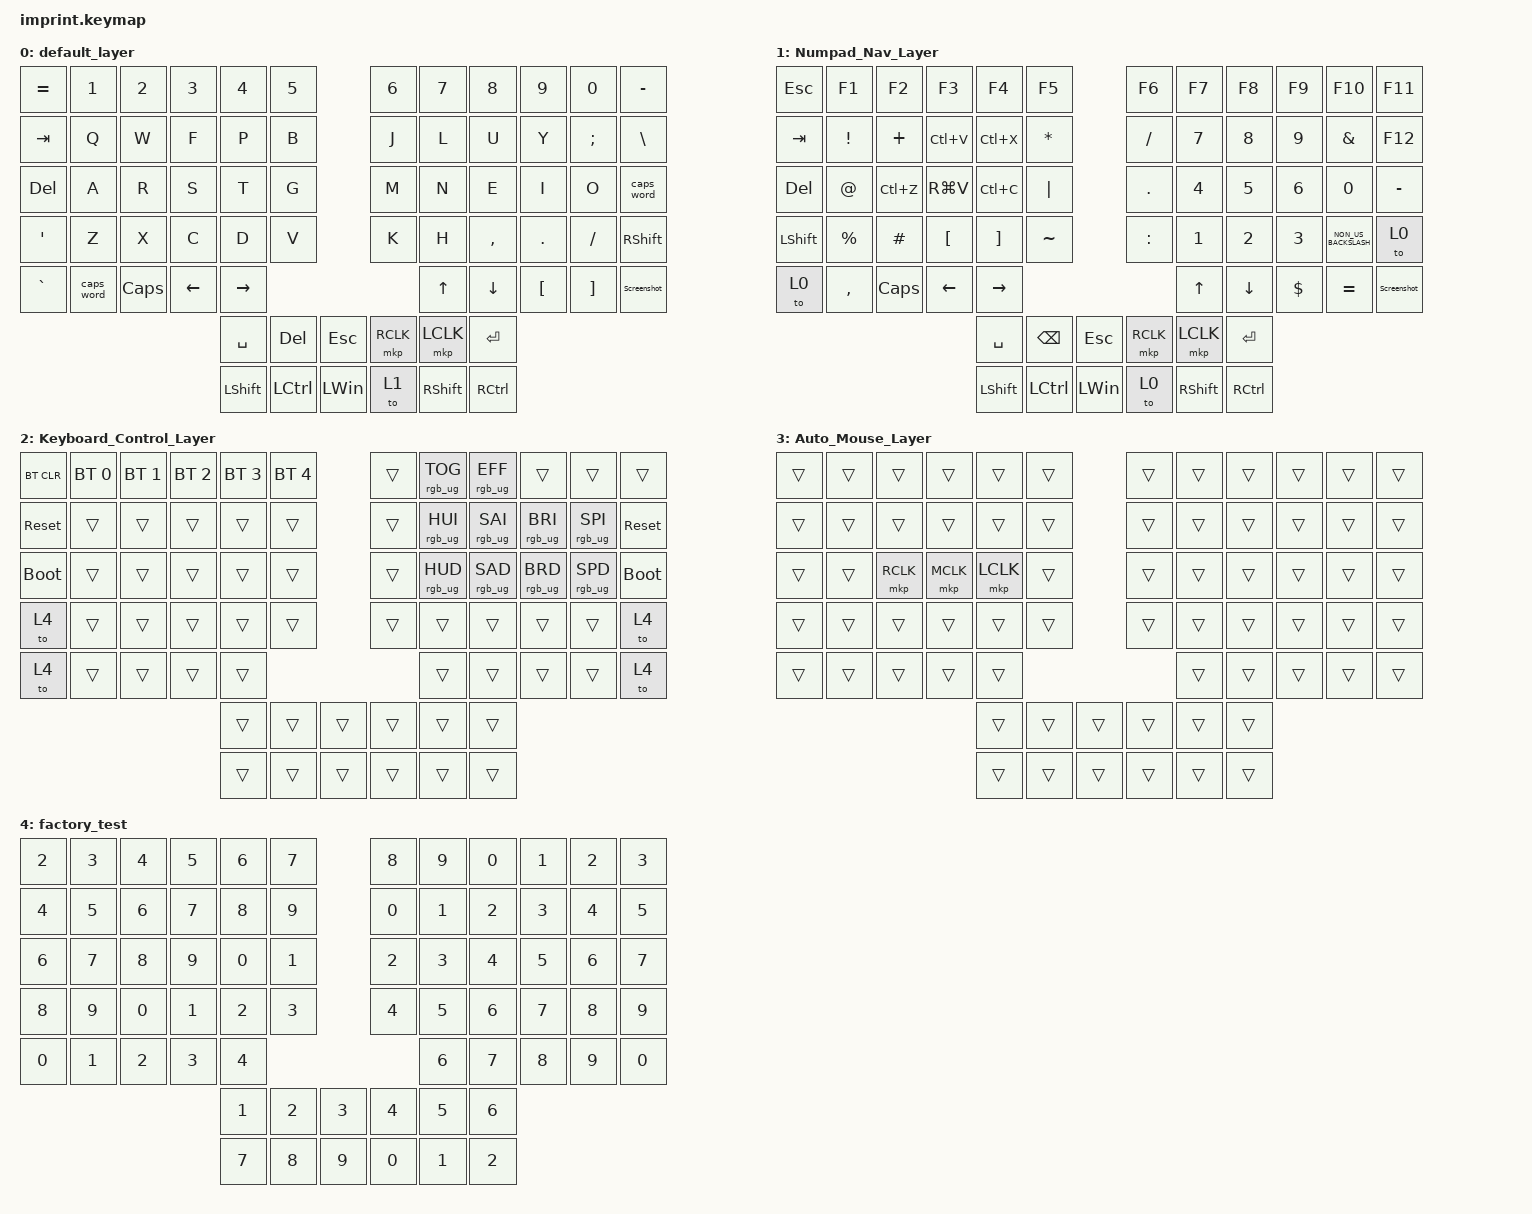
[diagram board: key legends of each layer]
#include <input/processors.dtsi>
#include <dt-bindings/zmk/input_transform.h>
#include <behaviors.dtsi>
#include <dt-bindings/zmk/bt.h>
#include <dt-bindings/zmk/keys.h>
#include <dt-bindings/zmk/pointing.h>
#include <dt-bindings/zmk/rgb.h>

/ {
    chosen { zmk,matrix-transform = &imprint_function_row_full_bottom_row; };

    macros {
        Screenshot: Screenshot {
            compatible = "zmk,behavior-macro";
            #binding-cells = <0>;
            bindings = <&kp RIGHT_WIN &kp RIGHT_SHIFT &kp S>;
            label = "SCREENSHOT";
        };
    };

    keymap {
        compatible = "zmk,keymap";

        default_layer {
            bindings = <
&kp EQUAL  &kp N1      &kp N2        &kp N3    &kp N4          &kp N5                            &kp N6     &kp N7           &kp N8             &kp N9            &kp N0             &kp MINUS
&kp TAB    &kp Q       &kp W         &kp F     &kp P           &kp B                             &kp J      &kp L            &kp U              &kp Y             &kp SEMICOLON      &kp BSLH
&kp DEL    &kp A       &kp R         &kp S     &kp T           &kp G                             &kp M      &kp N            &kp E              &kp I             &kp O              &caps_word
&kp SQT    &kp Z       &kp X         &kp C     &kp D           &kp V                             &kp K      &kp H            &kp COMMA          &kp DOT           &kp FSLH           &kp RSHFT
&kp GRAVE  &caps_word  &kp CAPSLOCK  &kp LEFT  &kp RIGHT                                                    &kp UP_ARROW     &kp DOWN           &kp LEFT_BRACKET  &kp RIGHT_BRACKET  &Screenshot
                                               &kp SPACE       &kp DEL           &kp ESC         &mkp RCLK  &mkp LCLK        &kp ENTER
                                               &kp LEFT_SHIFT  &kp LEFT_CONTROL  &kp LEFT_WIN    &to 1      &kp RIGHT_SHIFT  &kp RIGHT_CONTROL
            >;
        };

        Numpad_Nav_Layer {
            bindings = <
&kp ESCAPE      &kp F1           &kp F2     &kp F3            &kp F4             &kp F5                            &kp F6      &kp F7           &kp F8             &kp F9        &kp F10               &kp F11
&kp TAB         &kp EXCLAMATION  &kp PLUS   &kp LC(V)         &kp LC(X)          &kp ASTERISK                      &kp SLASH   &kp N7           &kp N8             &kp N9        &kp AMPERSAND         &kp F12
&kp DELETE      &kp AT_SIGN      &kp LC(Z)  &kp RG(V)         &kp LC(C)          &kp PIPE                          &kp PERIOD  &kp NUMBER_4     &kp N5             &kp NUMBER_6  &kp N0                &kp MINUS
&kp LEFT_SHIFT  &kp PERCENT      &kp HASH   &kp LEFT_BRACKET  &kp RIGHT_BRACKET  &kp TILDE                         &kp COLON   &kp NUMBER_1     &kp NUMBER_2       &kp NUMBER_3  &kp NON_US_BACKSLASH  &to 0
&to 0           &kp COMMA        &kp CLCK   &kp LEFT          &kp RIGHT                                                        &kp UP_ARROW     &kp DOWN_ARROW     &kp DOLLAR    &kp EQUAL             &Screenshot
                                                              &kp SPACE          &kp BACKSPACE     &kp ESCAPE      &mkp RCLK   &mkp LCLK        &kp ENTER
                                                              &kp LEFT_SHIFT     &kp LEFT_CONTROL  &kp LEFT_WIN    &to 0       &kp RIGHT_SHIFT  &kp RIGHT_CONTROL
            >;
        };

        Keyboard_Control_Layer {
            bindings = <
&bt BT_CLR   &bt BT_SEL 0  &bt BT_SEL 1  &bt BT_SEL 2  &bt BT_SEL 3  &bt BT_SEL 4            &trans  &rgb_ug RGB_TOG  &rgb_ug RGB_EFF  &trans           &trans           &trans
&sys_reset   &trans        &trans        &trans        &trans        &trans                  &trans  &rgb_ug RGB_HUI  &rgb_ug RGB_SAI  &rgb_ug RGB_BRI  &rgb_ug RGB_SPI  &sys_reset
&bootloader  &trans        &trans        &trans        &trans        &trans                  &trans  &rgb_ug RGB_HUD  &rgb_ug RGB_SAD  &rgb_ug RGB_BRD  &rgb_ug RGB_SPD  &bootloader
&to 4        &trans        &trans        &trans        &trans        &trans                  &trans  &trans           &trans           &trans           &trans           &to 4
&to 4        &trans        &trans        &trans        &trans                                        &trans           &trans           &trans           &trans           &to 4
                                                       &trans        &trans        &trans    &trans  &trans           &trans
                                                       &trans        &trans        &trans    &trans  &trans           &trans
            >;
        };

        Auto_Mouse_Layer {
            bindings = <
&trans  &trans  &trans     &trans     &trans     &trans            &trans  &trans  &trans  &trans  &trans  &trans
&trans  &trans  &trans     &trans     &trans     &trans            &trans  &trans  &trans  &trans  &trans  &trans
&trans  &trans  &mkp RCLK  &mkp MCLK  &mkp LCLK  &trans            &trans  &trans  &trans  &trans  &trans  &trans
&trans  &trans  &trans     &trans     &trans     &trans            &trans  &trans  &trans  &trans  &trans  &trans
&trans  &trans  &trans     &trans     &trans                               &trans  &trans  &trans  &trans  &trans
                                      &trans     &trans  &trans    &trans  &trans  &trans
                                      &trans     &trans  &trans    &trans  &trans  &trans
            >;
        };

        factory_test {
            bindings = <
&kp N2  &kp N3  &kp N4  &kp N5  &kp N6  &kp N7            &kp N8  &kp N9  &kp N0  &kp N1  &kp N2  &kp N3
&kp N4  &kp N5  &kp N6  &kp N7  &kp N8  &kp N9            &kp N0  &kp N1  &kp N2  &kp N3  &kp N4  &kp N5
&kp N6  &kp N7  &kp N8  &kp N9  &kp N0  &kp N1            &kp N2  &kp N3  &kp N4  &kp N5  &kp N6  &kp N7
&kp N8  &kp N9  &kp N0  &kp N1  &kp N2  &kp N3            &kp N4  &kp N5  &kp N6  &kp N7  &kp N8  &kp N9
&kp N0  &kp N1  &kp N2  &kp N3  &kp N4                            &kp N6  &kp N7  &kp N8  &kp N9  &kp N0
                                &kp N1  &kp N2  &kp N3    &kp N4  &kp N5  &kp N6
                                &kp N7  &kp N8  &kp N9    &kp N0  &kp N1  &kp N2
            >;
        };
    };
};

//right hand trackball configuration

&trackball_peripheral_listener {
    input-processors =
        // this gets it to the default installation orientation,,,,
        <&zip_xy_transform INPUT_TRANSFORM_XY_SWAP>;

    // activate layer 3 within 500ms of the trackball moving
    // <&zip_temp_layer 3 500>;
};

//left hand trackball configuration

&trackball_central_listener {
    input-processors =
        // this gets it to the default installation orientation,,,,
        <&zip_xy_transform INPUT_TRANSFORM_XY_SWAP>,
        // multiply sensitivity by 1, divide by 3 (make it slower for scrolling),,,,
        <&zip_xy_scaler 1 3>,
        // make this trackball output scrolling events by default instead of cursor movement,,,,
        <&zip_xy_to_scroll_mapper>,
        // invert vertical scrolling so that the view moves in the same direction as the top of the trackball.,,,,
        <&zip_scroll_transform INPUT_TRANSFORM_Y_INVERT>;
};
